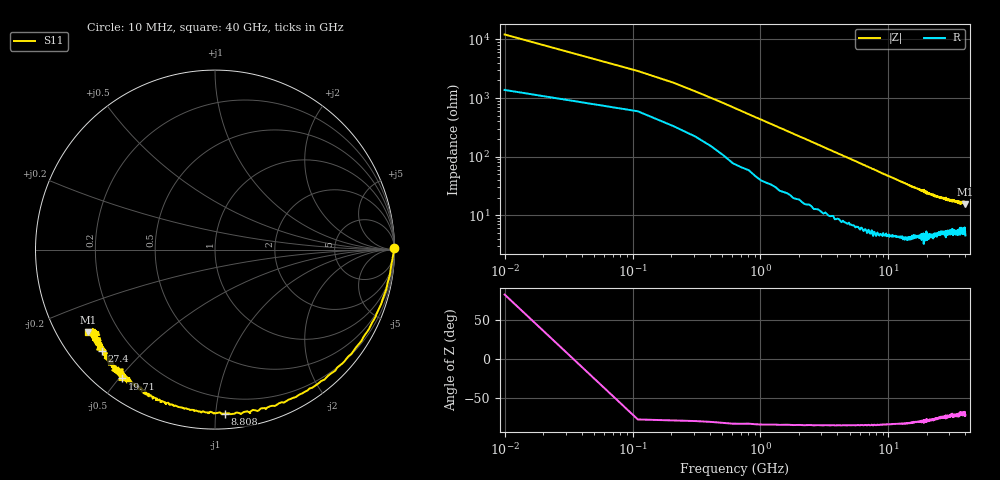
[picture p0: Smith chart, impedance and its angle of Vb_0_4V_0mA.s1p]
!Agilent Technologies,N5247A,US51170167,A.09.90.10
!Agilent N5247A: A.09.90.10
!Date: Tuesday, November 22, 2016 15:28:56
!Correction: S22(Full 1 Port(2))
!S1P File: Measurement: S22:
# Hz S  RI  R 50
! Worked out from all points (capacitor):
!   401 points, 10 MHz to 40 GHz, reference 50 ohm
!   read as one part to ground: C = 400 fF near 209.9 MHz
!   lowest |Z| = 15.4 ohm at 40 GHz (marker M1)
!   S11 on the Smith chart (normalised r, x): 10 MHz: open; 8.808 GHz: 0.09, -1.06; 19.71 GHz: 0.08, -0.51; 27.4 GHz: 0.10, -0.38; 40 GHz: 0.09, -0.29
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1e7  0.999 0.00815
1.2097e9  0.9394 -0.2625
2.60935e9  0.8148 -0.5105
3.909025e9  0.6613 -0.6806
5.00875e9  0.516 -0.7846
5.80855e9  0.4088 -0.8365
7.00825e9  0.2556 -0.8848
8.8078e9  0.0531 -0.9139
1.00075e10  -0.0557 -0.9058
1.24069e10  -0.2388 -0.8629
1.500625e10  -0.3874 -0.7954
1.790552e10  -0.4788 -0.7368
1.910522e10  -0.5278 -0.6748
1.970508e10  -0.5195 -0.718
2.0005e10  -0.5219 -0.7024
2.290428e10  -0.5936 -0.6288
2.500375e10  -0.6086 -0.5876
2.740315e10  -0.6308 -0.5638
3.00025e10  -0.6334 -0.5207
3.100225e10  -0.6475 -0.5179
3.190202e10  -0.6367 -0.5062
3.500125e10  -0.6602 -0.4977
3.56011e10  -0.6829 -0.4812
3.650088e10  -0.6552 -0.4783
3.770058e10  -0.6709 -0.4657
3.92002e10  -0.6663 -0.4776
3.970008e10  -0.6779 -0.5009
4e10  -0.7089 -0.4617
